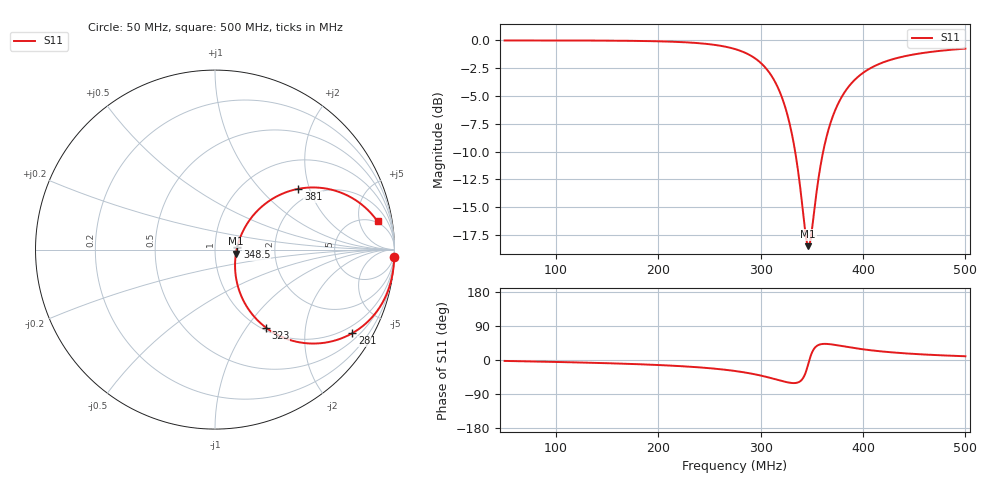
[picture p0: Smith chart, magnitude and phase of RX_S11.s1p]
! SYNTHETIC_DEVELOPMENT_INPUT - NOT VNA MEASUREMENT
! 50-500 MHz / 901 points / 0.5 MHz step / 50-ohm reference
! 350-MHz reference center-fed dipole development fixture
# Hz S RI R 50
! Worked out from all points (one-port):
!   901 points, 50 MHz to 500 MHz, reference 50 ohm
!   lowest |S11| = -18.5 dB at 346.5 MHz (marker M1), VSWR 1.27, Z = 63.1 - j2.94 ohm
!   |S11| at or under -10 dB: 333.7 MHz to 361.1 MHz (27.35 MHz wide, 7.87 % of centre)
!   S11 on the Smith chart (normalised r, x): 50 MHz: 0, -47; 281 MHz: 0.73, -3.42; 323 MHz: 1.04, -1.24; 348.5 MHz: 1.28, +0.04; 381 MHz: 1.67, +1.69; 500 MHz: 5, +9
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5e7  0.9991 -0.0422
1.065e8  0.995 -0.0956
1.625e8  0.9836 -0.1636
2.19e8  0.9478 -0.2676
2.51e8  0.8917 -0.3573
2.75e8  0.8001 -0.4435
2.81e8  0.7647 -0.4659
2.94e8  0.6617 -0.5084
3.065e8  0.5203 -0.5226
3.15e8  0.4013 -0.4983
3.23e8  0.2835 -0.4345
3.275e8  0.2223 -0.378
3.315e8  0.1758 -0.3155
3.37e8  0.1304 -0.2144
3.44e8  0.1119 -0.0731
3.465e8  0.1165 -0.023
3.485e8  0.1242 0.0158
3.57e8  0.1892 0.1597
3.63e8  0.2554 0.2348
3.71e8  0.3515 0.3004
3.81e8  0.4649 0.3387
3.875e8  0.5292 0.346
3.995e8  0.6262 0.3388
4.125e8  0.7042 0.3164
4.27e8  0.7667 0.2859
4.44e8  0.818 0.2505
4.69e8  0.8676 0.2043
5e8  0.9055 0.1576
